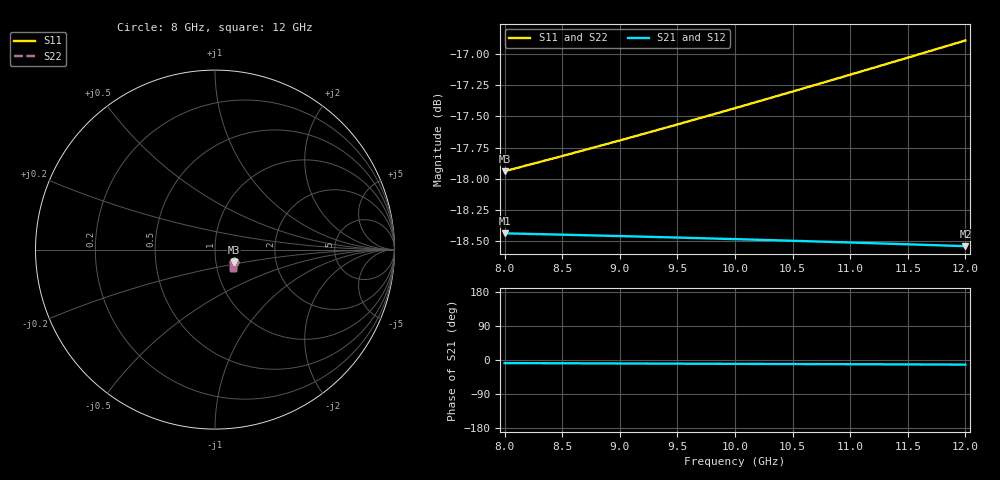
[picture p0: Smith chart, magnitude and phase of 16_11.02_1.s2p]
! Created Tue Oct 27 17:29:51 2020
# ghz S db R 50
! 2 Port Network Data from SP1.SP block
! freq  dbS11  angS11  dbS21  angS21  dbS12  angS12  dbS22  angS22
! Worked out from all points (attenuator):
!   9 points, 8 GHz to 12 GHz, reference 50 ohm
!   highest |S21| = -18.44 dB at 8 GHz (marker M1); lowest = -18.5 dB at 12 GHz (marker M2)
!   lowest |S11| = -17.9 dB at 8 GHz (marker M3), VSWR 1.29, Z = 61.2 - j8.64 ohm
!   |S11| at or under -10 dB: start of sweep to end of sweep
!   |S22| runs from -17.9 to -16.9 dB; largest |S21 - S12| = 2.4e-17
8  -17.94 -33.2  -18.44 -8.1  -18.44 -8.1  -17.94 -33.2
8.5  -17.82 -35.0  -18.45 -8.6  -18.45 -8.6  -17.82 -35.0
9  -17.69 -36.7  -18.46 -9.1  -18.46 -9.1  -17.69 -36.7
9.5  -17.56 -38.4  -18.47 -9.6  -18.47 -9.6  -17.56 -38.4
10  -17.43 -40.0  -18.48 -10.1  -18.48 -10.1  -17.43 -40.0
10.5  -17.30 -41.6  -18.49 -10.6  -18.49 -10.6  -17.30 -41.6
11  -17.17 -43.1  -18.51 -11.1  -18.51 -11.1  -17.17 -43.1
11.5  -17.03 -44.7  -18.52 -11.6  -18.52 -11.6  -17.03 -44.7
12  -16.89 -46.1  -18.54 -12.1  -18.54 -12.1  -16.89 -46.1
